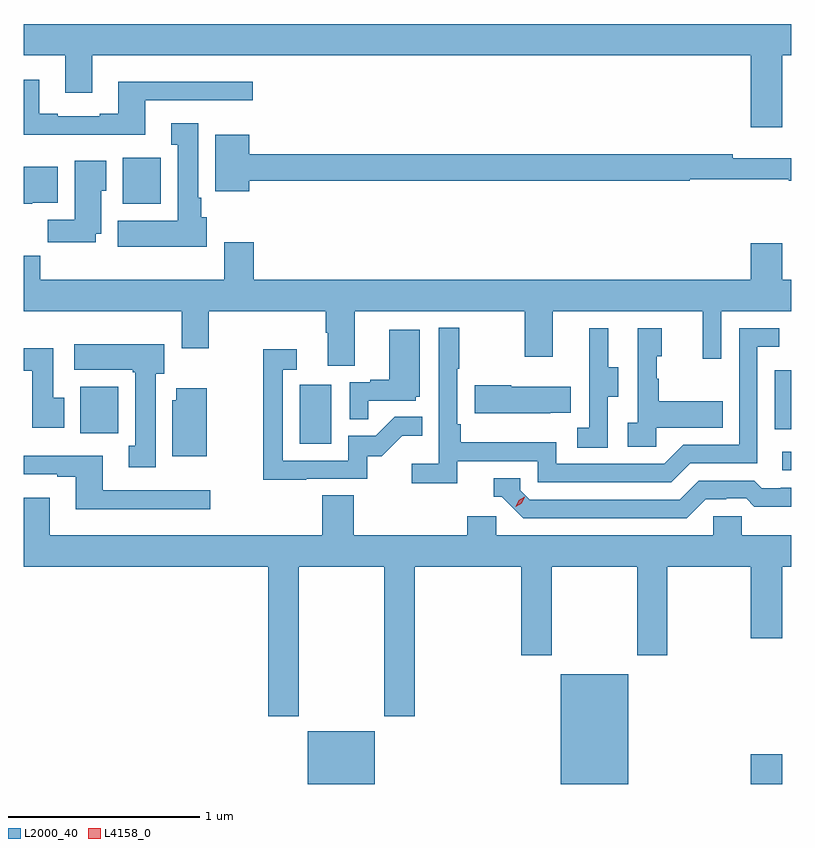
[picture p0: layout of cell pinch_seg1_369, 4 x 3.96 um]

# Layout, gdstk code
import gdstk
lib = gdstk.Library(unit=1e-6, precision=1e-09)
def R(c, l, rs):  # rectangles x0, y0, x1, y1
    for r in rs: c.add(gdstk.rectangle(r[:2], r[2:], *l))
def P(c, l, *ps):  # polygons
    for p in ps: c.add(gdstk.Polygon(p, *l))
L2000_40 = (2000, 40)
L4158_0 = (4158, 0)

pinch_seg1_369 = lib.new_cell('pinch_seg1_369')
R(pinch_seg1_369, L2000_40, [(965.894,529.287,966.244,529.561), (967.214,529.287,967.564,529.858), (968.204,529.287,968.368,529.441), (968.367,530.922,968.414,531.018), (965.852,531.06,966.016,531.367), (964.709,531.116,964.906,531.358), (968.328,531.135,968.414,531.444), (964.931,532.31,965.128,532.552)])
P(pinch_seg1_369, L2000_40, [(968.368,533.084),(968.414,533.084),(968.414,533.248),(964.414,533.248),(964.414,533.084),(964.631,533.084),(964.631,532.89),(964.771,532.89),(964.771,533.084),(968.204,533.084),(968.204,532.71),(968.368,532.71)],
  [(965.047,532.851),(965.608,532.851),(965.608,532.948),(964.907,532.948),(964.907,532.78),(964.811,532.78),(964.811,532.767),(964.591,532.767),(964.591,532.78),(964.495,532.78),(964.495,532.957),(964.414,532.957),(964.414,532.67),(965.047,532.67)],
  [(965.368,532.242),(965.338,532.242),(965.338,532.342),(965.323,532.342),(965.323,532.732),(965.183,532.732),(965.183,532.619),(965.216,532.619),(965.216,532.222),(964.904,532.222),(964.904,532.088),(965.368,532.088)],
  [(965.59,532.432),(967.886,532.432),(967.886,532.44),(968.401,532.44),(968.401,532.432),(968.414,532.432),(968.414,532.549),(968.108,532.549),(968.108,532.568),(965.59,532.568),(965.59,532.672),(965.411,532.672),(965.411,532.376),(965.59,532.376)],
  [(964.789,532.154),(964.819,532.154),(964.819,532.38),(964.843,532.38),(964.843,532.534),(964.679,532.534),(964.679,532.228),(964.54,532.228),(964.54,532.11),(964.789,532.11)],
  [(964.458,532.316),(964.591,532.316),(964.591,532.504),(964.414,532.504),(964.414,532.31),(964.458,532.31)],
  [(966.139,531.752),(967.024,531.752),(967.024,531.513),(967.171,531.513),(967.171,531.752),(967.952,531.752),(967.952,531.504),(968.049,531.504),(968.049,531.752),(968.414,531.752),(968.414,531.916),(968.368,531.916),(968.368,532.105),(968.204,532.105),(968.204,531.916),(965.612,531.916),(965.612,532.111),(965.459,532.111),(965.459,531.916),(964.499,531.916),(964.499,532.04),(964.414,532.04),(964.414,531.752),(965.237,531.752),(965.237,531.558),(965.377,531.558),(965.377,531.752),(965.987,531.752),(965.987,531.64),(965.999,531.64),(965.999,531.466),(966.139,531.466)],
  [(966.674,530.97),(967.092,530.97),(967.092,530.859),(967.789,530.859),(967.888,530.958),(968.238,530.958),(968.238,531.567),(968.351,531.567),(968.351,531.663),(968.142,531.663),(968.142,531.054),(967.851,531.054),(967.752,530.955),(967.188,530.955),(967.188,531.067),(966.692,531.067),(966.692,531.163),(966.672,531.163),(966.672,531.451),(966.685,531.451),(966.685,531.664),(966.576,531.664),(966.576,530.956),(966.435,530.956),(966.435,530.854),(966.674,530.854)],
  [(967.458,531.304),(967.513,531.304),(967.513,531.459),(967.459,531.459),(967.459,531.661),(967.361,531.661),(967.361,531.447),(967.362,531.447),(967.362,531.143),(967.299,531.143),(967.299,531.04),(967.458,531.04)],
  [(967.71,531.143),(968.057,531.143),(968.057,531.283),(967.723,531.283),(967.723,531.398),(967.713,531.398),(967.713,531.516),(967.738,531.516),(967.738,531.661),(967.614,531.661),(967.614,531.17),(967.563,531.17),(967.563,531.045),(967.71,531.045)],
  [(966.209,531.285),(966.456,531.285),(966.456,531.306),(966.478,531.306),(966.478,531.655),(966.32,531.655),(966.32,531.394),(966.221,531.394),(966.221,531.381),(966.114,531.381),(966.114,531.187),(966.209,531.187)],
  [(965.101,531.426),(965.146,531.426),(965.146,531.58),(964.677,531.58),(964.677,531.446),(964.981,531.446),(964.981,531.433),(964.994,531.433),(964.994,531.05),(964.961,531.05),(964.961,530.937),(965.101,530.937)],
  [(964.624,531.3),(964.567,531.3),(964.567,531.559),(964.414,531.559),(964.414,531.44),(964.457,531.44),(964.457,531.144),(964.624,531.144)],
  [(965.885,530.877),(966.204,530.877),(966.204,530.994),(966.28,530.994),(966.387,531.101),(966.491,531.101),(966.491,531.2),(966.347,531.2),(966.249,531.102),(966.105,531.102),(966.105,530.973),(965.763,530.973),(965.763,531.447),(965.836,531.447),(965.836,531.553),(965.662,531.553),(965.662,530.872),(965.885,530.872)],
  [(967.157,531.221),(967.265,531.221),(967.265,531.358),(966.955,531.358),(966.955,531.366),(966.764,531.366),(966.764,531.218),(967.157,531.218)],
  [(965.368,531.349),(965.21,531.349),(965.21,531.288),(965.189,531.288),(965.189,530.996),(965.368,530.996)],
  [(965.386,530.817),(964.825,530.817),(964.825,530.998),(964.414,530.998),(964.414,530.901),(964.589,530.901),(964.589,530.889),(964.685,530.889),(964.685,530.72),(965.386,530.72)],
  [(967.969,530.772),(968.076,530.772),(968.076,530.775),(968.179,530.775),(968.221,530.733),(968.414,530.733),(968.414,530.832),(968.359,530.832),(968.359,530.829),(968.26,530.829),(968.221,530.868),(967.932,530.868),(967.833,530.769),(967.05,530.769),(967.002,530.817),(967.002,530.88),(966.863,530.88),(966.863,530.784),(966.906,530.784),(967.017,530.673),(967.87,530.673)],
  [(966.876,530.682),(966.725,530.682),(966.725,530.584),(966.134,530.584),(966.134,530.792),(965.969,530.792),(965.969,530.584),(964.549,530.584),(964.549,530.779),(964.414,530.779),(964.414,530.42),(965.687,530.42),(965.687,529.641),(965.847,529.641),(965.847,530.42),(966.292,530.42),(966.292,529.641),(966.452,529.641),(966.452,530.42),(967.007,530.42),(967.007,529.959),(967.167,529.959),(967.167,530.42),(967.612,530.42),(967.612,529.959),(967.767,529.959),(967.767,530.42),(968.204,530.42),(968.204,530.046),(968.368,530.046),(968.368,530.42),(968.414,530.42),(968.414,530.584),(968.157,530.584),(968.157,530.682),(968.007,530.682),(968.007,530.584),(966.876,530.584)])
P(pinch_seg1_369, L4158_0, [(966.978,530.732),(966.978,530.732),(966.994,530.765),(967.025,530.783),(967.026,530.783),(967.026,530.783),(967.009,530.751),(966.978,530.732)])

lib.write_gds('pinch_seg1_369.gds')
